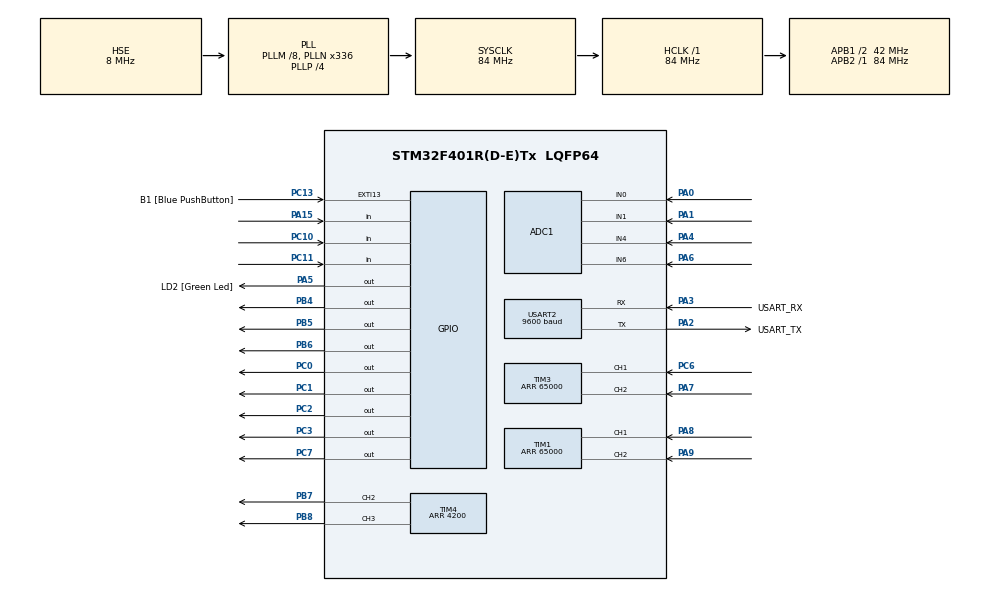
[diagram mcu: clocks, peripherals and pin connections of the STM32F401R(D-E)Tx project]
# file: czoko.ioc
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ADC1.Channel-24\#ChannelRegularConversion=ADC_CHANNEL_0
ADC1.NbrOfConversionFlag=1
ADC1.Rank-24\#ChannelRegularConversion=1
ADC1.SamplingTime-24\#ChannelRegularConversion=ADC_SAMPLETIME_3CYCLES
ADC1.master=1
Dma.Request0=USART2_RX
Dma.Request1=USART2_TX
Dma.USART2_RX.0.Channel=DMA_CHANNEL_4
Dma.USART2_RX.0.Direction=DMA_PERIPH_TO_MEMORY
Dma.USART2_RX.0.FIFOMode=DMA_FIFOMODE_DISABLE
Dma.USART2_RX.0.FIFOThreshold=DMA_FIFO_THRESHOLD_FULL
Dma.USART2_RX.0.Instance=DMA1_Stream5
Dma.USART2_RX.0.MemBurst=DMA_MBURST_SINGLE
Dma.USART2_RX.0.MemDataAlignment=DMA_MDATAALIGN_BYTE
Dma.USART2_RX.0.MemInc=DMA_MINC_ENABLE
Dma.USART2_RX.0.Mode=DMA_CIRCULAR
Dma.USART2_RX.0.PeriphBurst=DMA_PBURST_SINGLE
Dma.USART2_RX.0.PeriphDataAlignment=DMA_PDATAALIGN_BYTE
Dma.USART2_RX.0.PeriphInc=DMA_PINC_DISABLE
Dma.USART2_RX.0.Priority=DMA_PRIORITY_HIGH
Dma.USART2_TX.1.Channel=DMA_CHANNEL_4
Dma.USART2_TX.1.Direction=DMA_MEMORY_TO_PERIPH
Dma.USART2_TX.1.FIFOMode=DMA_FIFOMODE_DISABLE
Dma.USART2_TX.1.FIFOThreshold=DMA_FIFO_THRESHOLD_FULL
Dma.USART2_TX.1.Instance=DMA1_Stream6
Dma.USART2_TX.1.MemBurst=DMA_MBURST_SINGLE
Dma.USART2_TX.1.MemDataAlignment=DMA_MDATAALIGN_BYTE
Dma.USART2_TX.1.MemInc=DMA_MINC_ENABLE
Dma.USART2_TX.1.Mode=DMA_NORMAL
Dma.USART2_TX.1.PeriphBurst=DMA_PBURST_SINGLE
Dma.USART2_TX.1.PeriphDataAlignment=DMA_PDATAALIGN_BYTE
Dma.USART2_TX.1.PeriphInc=DMA_PINC_DISABLE
Dma.USART2_TX.1.Priority=DMA_PRIORITY_HIGH
Mcu.Family=STM32F4
Mcu.Name=STM32F401R(D-E)Tx
Mcu.Package=LQFP64
NVIC.DMA1_Stream5_IRQn=true\:0\:0\:false
NVIC.DMA1_Stream6_IRQn=true\:0\:0\:false
NVIC.PriorityGroup=NVIC_PRIORITYGROUP_0
NVIC.TIM1_BRK_TIM9_IRQn=true\:0\:0\:false
NVIC.TIM1_UP_TIM10_IRQn=true\:0\:0\:false
NVIC.TIM2_IRQn=true\:0\:0\:false
NVIC.TIM3_IRQn=true\:0\:0\:false
NVIC.TIM4_IRQn=true\:0\:0\:false
NVIC.TIM5_IRQn=true\:0\:0\:false
NVIC.USART2_IRQn=true\:0\:0\:false
PA0-WKUP.Signal=ADCx_IN0
PA1.Signal=ADCx_IN1
PA13.GPIO_Label=TMS
PA13.Mode=Trace-Asynchronous_SW
PA13.Signal=SYS_JTMS-SWDIO
PA14.GPIO_Label=TCK
PA14.Mode=Trace-Asynchronous_SW
PA14.Signal=SYS_JTCK-SWCLK
PA15.Signal=GPIO_Input
PA2.GPIO_Label=USART_TX
PA2.GPIO_Mode=GPIO_MODE_AF_PP
PA2.GPIO_PuPd=GPIO_NOPULL
PA2.GPIO_Speed=GPIO_SPEED_LOW
PA2.Mode=Asynchronous
PA2.Signal=USART2_TX
PA3.GPIO_Label=USART_RX
PA3.GPIO_Mode=GPIO_MODE_AF_PP
PA3.GPIO_PuPd=GPIO_PULLUP
PA3.GPIO_Speed=GPIO_SPEED_LOW
PA3.Mode=Asynchronous
PA3.Signal=USART2_RX
PA4.Signal=ADCx_IN4
PA5.GPIO_Label=LD2 [Green Led]
PA5.GPIO_Mode=GPIO_MODE_OUTPUT_PP
PA5.GPIO_ModeDefaultOutputPP=GPIO_MODE_OUTPUT_PP
PA5.GPIO_PuPd=GPIO_NOPULL
PA5.GPIO_Speed=GPIO_SPEED_LOW
PA5.Signal=GPIO_Output
PA6.Signal=ADCx_IN6
PA7.Signal=S_TIM3_CH2
PA8.Signal=S_TIM1_CH1
PA9.Signal=S_TIM1_CH2
PB3.GPIO_Label=SWO
PB3.Mode=Trace-Asynchronous_SW
PB3.Signal=SYS_JTDO-SWO
PB4.Signal=GPIO_Output
PB5.Signal=GPIO_Output
PB6.Signal=GPIO_Output
PB7.Signal=S_TIM4_CH2
PB8.Signal=S_TIM4_CH3
PC0.Signal=GPIO_Output
PC1.Signal=GPIO_Output
PC10.Signal=GPIO_Input
PC11.Signal=GPIO_Input
PC13-ANTI_TAMP.GPIO_Label=B1 [Blue PushButton]
PC13-ANTI_TAMP.GPIO_ModeDefaultEXTI=GPIO_MODE_EVT_RISING
PC13-ANTI_TAMP.GPIO_PuPd=GPIO_NOPULL
PC13-ANTI_TAMP.Signal=GPXTI13
PC14-OSC32_IN.Signal=RCC_OSC32_IN
PC15-OSC32_OUT.Signal=RCC_OSC32_OUT
PC2.Signal=GPIO_Output
PC3.Signal=GPIO_Output
PC6.Signal=S_TIM3_CH1
PC7.Signal=GPIO_Output
PH0\ -\ OSC_IN.Mode=HSE-External-Oscillator
PH0\ -\ OSC_IN.Signal=RCC_OSC_IN
PH1\ -\ OSC_OUT.Mode=HSE-External-Oscillator
PH1\ -\ OSC_OUT.Signal=RCC_OSC_OUT
ProjectManager.TargetToolchain=SW4STM32
RCC.48MHZClocksFreq_Value=48000000
RCC.AHBFreq_Value=84000000
RCC.APB1CLKDivider=RCC_HCLK_DIV2
RCC.APB1Freq_Value=42000000
RCC.APB1TimFreq_Value=84000000
RCC.APB2Freq_Value=84000000
RCC.APB2TimFreq_Value=84000000
RCC.CortexFreq_Value=84000000
RCC.EnbaleCSS=true
RCC.HCLKFreq_Value=84000000
RCC.HSE_VALUE=8000000
RCC.HSI_VALUE=16000000
RCC.LSE_VALUE=32768
RCC.PLLM=8
RCC.PLLN=336
RCC.PLLP=RCC_PLLP_DIV4
RCC.PLLQ=7
RCC.PLLSourceVirtual=RCC_PLLSOURCE_HSE
RCC.SYSCLKFreq_VALUE=84000000
RCC.SYSCLKSource=RCC_SYSCLKSOURCE_PLLCLK
RCC.VCOOutputFreq_Value=336000000
SH.ADCx_IN0.0=ADC1_IN0,IN0
SH.ADCx_IN1.0=ADC1_IN1,IN1
SH.ADCx_IN4.0=ADC1_IN4,IN4
SH.ADCx_IN6.0=ADC1_IN6,IN6
SH.S_TIM1_CH1.0=TIM1_CH1,Encoder_Interface
SH.S_TIM1_CH2.0=TIM1_CH2,Encoder_Interface
SH.S_TIM3_CH1.0=TIM3_CH1,Encoder_Interface
SH.S_TIM3_CH2.0=TIM3_CH2,Encoder_Interface
SH.S_TIM4_CH2.0=TIM4_CH2,PWM Generation2 CH2
SH.S_TIM4_CH3.0=TIM4_CH3,PWM Generation3 CH3
TIM1.CounterMode=TIM_COUNTERMODE_DOWN
TIM1.EncoderMode=TIM_ENCODERMODE_TI12
TIM1.Period=65000
TIM10.Prescaler=8400
TIM2.CounterMode=TIM_COUNTERMODE_DOWN
TIM2.Period=\ 4294967295
TIM2.Prescaler=8400
TIM3.CounterMode=TIM_COUNTERMODE_DOWN
TIM3.EncoderMode=TIM_ENCODERMODE_TI12
TIM3.Period=65000
TIM4.Channel-PWM\ Generation2\ CH2=TIM_CHANNEL_2
TIM4.Channel-PWM\ Generation3\ CH3=TIM_CHANNEL_3
TIM4.Period=4200
TIM5.CounterMode=TIM_COUNTERMODE_DOWN
TIM5.Period=\ 4294967295
TIM5.Prescaler=8400
TIM9.Prescaler=8400
USART2.BaudRate=9600
VP_TIM10_VS_ClockSourceINT.Mode=Enable_Timer
VP_TIM2_VS_ClockSourceINT.Mode=Internal
VP_TIM5_VS_ClockSourceINT.Mode=Internal
VP_TIM9_VS_ClockSourceINT.Mode=Internal
board=czoko

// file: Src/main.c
/**
  ******************************************************************************
  * File Name          : main.c
  * Description        : Main program body
  ******************************************************************************
  *
  * COPYRIGHT(c) 2015 STMicroelectronics
  *
  * Redistribution and use in source and binary forms, with or without modification,
  * are permitted provided that the following conditions are met:
  *   1. Redistributions of source code must retain the above copyright notice,
  *      this list of conditions and the following disclaimer.
  *   2. Redistributions in binary form must reproduce the above copyright notice,
  *      this list of conditions and the following disclaimer in the documentation
  *      and/or other materials provided with the distribution.
  *   3. Neither the name of STMicroelectronics nor the names of its contributors
  *      may be used to endorse or promote products derived from this software
  *      without specific prior written permission.
  *
  * THIS SOFTWARE IS PROVIDED BY THE COPYRIGHT HOLDERS AND CONTRIBUTORS "AS IS"
  * AND ANY EXPRESS OR IMPLIED WARRANTIES, INCLUDING, BUT NOT LIMITED TO, THE
  * IMPLIED WARRANTIES OF MERCHANTABILITY AND FITNESS FOR A PARTICULAR PURPOSE ARE
  * DISCLAIMED. IN NO EVENT SHALL THE COPYRIGHT HOLDER OR CONTRIBUTORS BE LIABLE
  * FOR ANY DIRECT, INDIRECT, INCIDENTAL, SPECIAL, EXEMPLARY, OR CONSEQUENTIAL
  * DAMAGES (INCLUDING, BUT NOT LIMITED TO, PROCUREMENT OF SUBSTITUTE GOODS OR
  * SERVICES; LOSS OF USE, DATA, OR PROFITS; OR BUSINESS INTERRUPTION) HOWEVER
  * CAUSED AND ON ANY THEORY OF LIABILITY, WHETHER IN CONTRACT, STRICT LIABILITY,
  * OR TORT (INCLUDING NEGLIGENCE OR OTHERWISE) ARISING IN ANY WAY OUT OF THE USE
  * OF THIS SOFTWARE, EVEN IF ADVISED OF THE POSSIBILITY OF SUCH DAMAGE.
  *
  ******************************************************************************
  */
#include "stm32f4xx_hal.h"

/* USER CODE BEGIN Includes */
#include <math.h>
/* USER CODE END Includes */

ADC_HandleTypeDef hadc1;

TIM_HandleTypeDef htim1;
TIM_HandleTypeDef htim2;
TIM_HandleTypeDef htim3;
TIM_HandleTypeDef htim4;
TIM_HandleTypeDef htim5;
TIM_HandleTypeDef htim9;
TIM_HandleTypeDef htim10;

UART_HandleTypeDef huart2;
DMA_HandleTypeDef hdma_usart2_rx;
DMA_HandleTypeDef hdma_usart2_tx;

/* USER CODE BEGIN PV */
/* Private variables ---------------------------------------------------------*/
#define SHORT_PI 3.1415f
#define RADIUS 1.95f
#define TICK_PER_ROUND 600.0f
#define ENCODER_INITIAL 32500
/* USER CODE END PV */

void SystemClock_Config(void);
static void MX_GPIO_Init(void);
static void MX_DMA_Init(void);
static void MX_ADC1_Init(void);
static void MX_TIM1_Init(void);
static void MX_TIM2_Init(void);
static void MX_TIM3_Init(void);
static void MX_TIM4_Init(void);
static void MX_TIM5_Init(void);
static void MX_TIM9_Init(void);
static void MX_TIM10_Init(void);
static void MX_USART2_UART_Init(void);

/* USER CODE BEGIN PFP */
/* Private function prototypes -----------------------------------------------*/
void LeftForward(void);
void LeftBackward(void);
void RightForward(void);
void RightBackward(void);
void RightPWM(uint32_t pwm);
void LeftPWM(uint32_t pwm);
void regulation(void);
int8_t getBit(int8_t value, int8_t bit);
void setBit(int8_t *value, int8_t bit);
void resetBit(int8_t *value, int8_t bit);

/* USER CODE END PFP */

/* USER CODE BEGIN 0 */
int8_t command[10];

float leftVelocity = 0;
float rightVelocity = 0;
int32_t leftTotalTicks = 0;
int32_t rightTotalTicks = 0;
int32_t leftCurrentTicks = 0;
int32_t rightCurrentTicks = 0;

float pVal = 5.0f;
float dVal = 0;

float setLeftSpeed = 0;
float setRightSpeed = 0;

float eLeft = 0;
float eRight = 0;

float peLeft = 0;
float peRight = 0;

float newPWMLeft = 0;
float newPWMRight = 0;

uint32_t encoderTimer = 600;
uint32_t btTimeout = 0;
uint8_t speedTimerFlag = 0;
uint8_t bluetoothTimerFlag = 0;

uint8_t ControlFlag = 0;
uint8_t timerFlag = 0;

//uint8_t response[10];
/* USER CODE END 0 */

int main(void)
{

  /* MCU Configuration----------------------------------------------------------*/

  /* Reset of all peripherals, Initializes the Flash interface and the Systick. */
  HAL_Init();

  /* Configure the system clock */
  SystemClock_Config();

  /* Initialize all configured peripherals */
  MX_GPIO_Init();
  MX_DMA_Init();
  MX_ADC1_Init();
  MX_TIM1_Init();
  MX_TIM2_Init();
  MX_TIM3_Init();
  MX_TIM4_Init();
  MX_TIM5_Init();
  MX_TIM9_Init();
  MX_TIM10_Init();
  MX_USART2_UART_Init();

  /* USER CODE BEGIN 2 */
  HAL_TIM_PWM_Start(&htim4, TIM_CHANNEL_2);
  HAL_TIM_PWM_Start(&htim4, TIM_CHANNEL_3);

  htim1.Instance->CNT = ENCODER_INITIAL;
  htim3.Instance->CNT = ENCODER_INITIAL;

  HAL_TIM_Encoder_Start(&htim1, TIM_CHANNEL_ALL);
  HAL_TIM_Encoder_Start(&htim3, TIM_CHANNEL_ALL);

  HAL_TIM_Base_Start_IT(&htim1);
  HAL_TIM_Base_Start_IT(&htim3);
  //to je PWM
  //htim4.Instance->CCR3 = 1000;
  //htim4.Instance->CCR2 = 1000;

  leftTotalTicks = 0;
  rightTotalTicks = 0;

  LeftPWM(0);
  RightPWM(0);

  RightForward();
  LeftForward();

  htim9.Instance->ARR = 0;
  htim2.Instance->ARR = encoderTimer;
  htim2.Instance->CNT = encoderTimer;
  HAL_TIM_Base_Start_IT(&htim2);

  //HAL_GPIO_WritePin(GPIOB,GPIO_PIN_6,GPIO_PIN_SET);
  //HAL_GPIO_WritePin(GPIOB,GPIO_PIN_5,GPIO_PIN_SET);

  HAL_UART_Receive_DMA(&huart2, command, sizeof(command));

  //uint8_t hello[] = {'r','o','b','o','t',' ','i','n','i','t'};
  //HAL_UART_Transmit_DMA(&huart2,hello,10);
  /* USER CODE END 2 */

  /* Infinite loop */
  while (1)
  {

  }

}

/** System Clock Configuration
*/
void SystemClock_Config(void)
{

  RCC_OscInitTypeDef RCC_OscInitStruct;
  RCC_ClkInitTypeDef RCC_ClkInitStruct;

  __PWR_CLK_ENABLE();

  __HAL_PWR_VOLTAGESCALING_CONFIG(PWR_REGULATOR_VOLTAGE_SCALE1);

  RCC_OscInitStruct.OscillatorType = RCC_OSCILLATORTYPE_HSE;
  RCC_OscInitStruct.HSEState = RCC_HSE_ON;
  RCC_OscInitStruct.PLL.PLLState = RCC_PLL_ON;
  RCC_OscInitStruct.PLL.PLLSource = RCC_PLLSOURCE_HSE;
  RCC_OscInitStruct.PLL.PLLM = 8;
  RCC_OscInitStruct.PLL.PLLN = 336;
  RCC_OscInitStruct.PLL.PLLP = RCC_PLLP_DIV4;
  RCC_OscInitStruct.PLL.PLLQ = 7;
  HAL_RCC_OscConfig(&RCC_OscInitStruct);

  RCC_ClkInitStruct.ClockType = RCC_CLOCKTYPE_SYSCLK|RCC_CLOCKTYPE_PCLK1;
  RCC_ClkInitStruct.SYSCLKSource = RCC_SYSCLKSOURCE_PLLCLK;
  RCC_ClkInitStruct.AHBCLKDivider = RCC_SYSCLK_DIV1;
  RCC_ClkInitStruct.APB1CLKDivider = RCC_HCLK_DIV2;
  RCC_ClkInitStruct.APB2CLKDivider = RCC_HCLK_DIV1;
  HAL_RCC_ClockConfig(&RCC_ClkInitStruct, FLASH_LATENCY_2);

  HAL_RCC_EnableCSS();

  HAL_SYSTICK_Config(HAL_RCC_GetHCLKFreq()/1000);

  HAL_SYSTICK_CLKSourceConfig(SYSTICK_CLKSOURCE_HCLK);

}

/* ADC1 init function */
void MX_ADC1_Init(void)
{

  ADC_ChannelConfTypeDef sConfig;

    /**Configure the global features of the ADC (Clock, Resolution, Data Alignment and number of conversion)
    */
  hadc1.Instance = ADC1;
  hadc1.Init.ClockPrescaler = ADC_CLOCKPRESCALER_PCLK_DIV4;
  hadc1.Init.Resolution = ADC_RESOLUTION12b;
  hadc1.Init.ScanConvMode = DISABLE;
  hadc1.Init.ContinuousConvMode = DISABLE;
  hadc1.Init.DiscontinuousConvMode = DISABLE;
  hadc1.Init.ExternalTrigConvEdge = ADC_EXTERNALTRIGCONVEDGE_NONE;
  hadc1.Init.DataAlign = ADC_DATAALIGN_RIGHT;
  hadc1.Init.NbrOfConversion = 1;
  hadc1.Init.DMAContinuousRequests = DISABLE;
  hadc1.Init.EOCSelection = EOC_SINGLE_CONV;
  HAL_ADC_Init(&hadc1);

    /**Configure for the selected ADC regular channel its corresponding rank in the sequencer and its sample time.
    */
  sConfig.Channel = ADC_CHANNEL_0;
  sConfig.Rank = 1;
  sConfig.SamplingTime = ADC_SAMPLETIME_3CYCLES;
  HAL_ADC_ConfigChannel(&hadc1, &sConfig);

}

/* TIM1 init function */
void MX_TIM1_Init(void)
{

  TIM_Encoder_InitTypeDef sConfig;
  TIM_MasterConfigTypeDef sMasterConfig;

  htim1.Instance = TIM1;
  htim1.Init.Prescaler = 0;
  htim1.Init.CounterMode = TIM_COUNTERMODE_DOWN;
  htim1.Init.Period = 65000;
  htim1.Init.ClockDivision = TIM_CLOCKDIVISION_DIV1;
  htim1.Init.RepetitionCounter = 0;
  sConfig.EncoderMode = TIM_ENCODERMODE_TI12;
  sConfig.IC1Polarity = TIM_ICPOLARITY_RISING;
  sConfig.IC1Selection = TIM_ICSELECTION_DIRECTTI;
  sConfig.IC1Prescaler = TIM_ICPSC_DIV1;
  sConfig.IC1Filter = 0;
  sConfig.IC2Polarity = TIM_ICPOLARITY_RISING;
  sConfig.IC2Selection = TIM_ICSELECTION_DIRECTTI;
  sConfig.IC2Prescaler = TIM_ICPSC_DIV1;
  sConfig.IC2Filter = 0;
  HAL_TIM_Encoder_Init(&htim1, &sConfig);

  sMasterConfig.MasterOutputTrigger = TIM_TRGO_RESET;
  sMasterConfig.MasterSlaveMode = TIM_MASTERSLAVEMODE_DISABLE;
  HAL_TIMEx_MasterConfigSynchronization(&htim1, &sMasterConfig);

}

/* TIM2 init function */
void MX_TIM2_Init(void)
{

  TIM_ClockConfigTypeDef sClockSourceConfig;
  TIM_MasterConfigTypeDef sMasterConfig;

  htim2.Instance = TIM2;
  htim2.Init.Prescaler = 8400;
  htim2.Init.CounterMode = TIM_COUNTERMODE_DOWN;
  htim2.Init.Period = 4294967295;
  htim2.Init.ClockDivision = TIM_CLOCKDIVISION_DIV1;
  HAL_TIM_Base_Init(&htim2);

  sClockSourceConfig.ClockSource = TIM_CLOCKSOURCE_INTERNAL;
  HAL_TIM_ConfigClockSource(&htim2, &sClockSourceConfig);

  sMasterConfig.MasterOutputTrigger = TIM_TRGO_RESET;
  sMasterConfig.MasterSlaveMode = TIM_MASTERSLAVEMODE_DISABLE;
  HAL_TIMEx_MasterConfigSynchronization(&htim2, &sMasterConfig);

}

/* TIM3 init function */
void MX_TIM3_Init(void)
{

  TIM_Encoder_InitTypeDef sConfig;
  TIM_MasterConfigTypeDef sMasterConfig;

  htim3.Instance = TIM3;
  htim3.Init.Prescaler = 0;
  htim3.Init.CounterMode = TIM_COUNTERMODE_DOWN;
  htim3.Init.Period = 65000;
  htim3.Init.ClockDivision = TIM_CLOCKDIVISION_DIV1;
  sConfig.EncoderMode = TIM_ENCODERMODE_TI12;
  sConfig.IC1Polarity = TIM_ICPOLARITY_RISING;
  sConfig.IC1Selection = TIM_ICSELECTION_DIRECTTI;
  sConfig.IC1Prescaler = TIM_ICPSC_DIV1;
  sConfig.IC1Filter = 0;
  sConfig.IC2Polarity = TIM_ICPOLARITY_RISING;
  sConfig.IC2Selection = TIM_ICSELECTION_DIRECTTI;
  sConfig.IC2Prescaler = TIM_ICPSC_DIV1;
  sConfig.IC2Filter = 0;
  HAL_TIM_Encoder_Init(&htim3, &sConfig);

  sMasterConfig.MasterOutputTrigger = TIM_TRGO_RESET;
  sMasterConfig.MasterSlaveMode = TIM_MASTERSLAVEMODE_DISABLE;
  HAL_TIMEx_MasterConfigSynchronization(&htim3, &sMasterConfig);

}

/* TIM4 init function */
void MX_TIM4_Init(void)
{

  TIM_MasterConfigTypeDef sMasterConfig;
  TIM_OC_InitTypeDef sConfigOC;

  htim4.Instance = TIM4;
  htim4.Init.Prescaler = 0;
  htim4.Init.CounterMode = TIM_COUNTERMODE_UP;
  htim4.Init.Period = 4200;
  htim4.Init.ClockDivision = TIM_CLOCKDIVISION_DIV1;
  HAL_TIM_PWM_Init(&htim4);

  sMasterConfig.MasterOutputTrigger = TIM_TRGO_RESET;
  sMasterConfig.MasterSlaveMode = TIM_MASTERSLAVEMODE_DISABLE;
  HAL_TIMEx_MasterConfigSynchronization(&htim4, &sMasterConfig);

  sConfigOC.OCMode = TIM_OCMODE_PWM1;
  sConfigOC.Pulse = 0;
  sConfigOC.OCPolarity = TIM_OCPOLARITY_HIGH;
  sConfigOC.OCFastMode = TIM_OCFAST_DISABLE;
  HAL_TIM_PWM_ConfigChannel(&htim4, &sConfigOC, TIM_CHANNEL_2);

  HAL_TIM_PWM_ConfigChannel(&htim4, &sConfigOC, TIM_CHANNEL_3);

}

/* TIM5 init function */
void MX_TIM5_Init(void)
{

  TIM_ClockConfigTypeDef sClockSourceConfig;
  TIM_MasterConfigTypeDef sMasterConfig;

  htim5.Instance = TIM5;
  htim5.Init.Prescaler = 8400;
  htim5.Init.CounterMode = TIM_COUNTERMODE_DOWN;
  htim5.Init.Period = 4294967295;
  htim5.Init.ClockDivision = TIM_CLOCKDIVISION_DIV1;
  HAL_TIM_Base_Init(&htim5);

  sClockSourceConfig.ClockSource = TIM_CLOCKSOURCE_INTERNAL;
  HAL_TIM_ConfigClockSource(&htim5, &sClockSourceConfig);

  sMasterConfig.MasterOutputTrigger = TIM_TRGO_RESET;
  sMasterConfig.MasterSlaveMode = TIM_MASTERSLAVEMODE_DISABLE;
  HAL_TIMEx_MasterConfigSynchronization(&htim5, &sMasterConfig);

}

/* TIM9 init function */
void MX_TIM9_Init(void)
{

  TIM_ClockConfigTypeDef sClockSourceConfig;

  htim9.Instance = TIM9;
  htim9.Init.Prescaler = 8400;
  htim9.Init.CounterMode = TIM_COUNTERMODE_UP;
  htim9.Init.Period = 0;
  htim9.Init.ClockDivision = TIM_CLOCKDIVISION_DIV1;
  HAL_TIM_Base_Init(&htim9);

  sClockSourceConfig.ClockSource = TIM_CLOCKSOURCE_INTERNAL;
  HAL_TIM_ConfigClockSource(&htim9, &sClockSourceConfig);

}

/* TIM10 init function */
void MX_TIM10_Init(void)
{

  htim10.Instance = TIM10;
  htim10.Init.Prescaler = 8400;
  htim10.Init.CounterMode = TIM_COUNTERMODE_UP;
  htim10.Init.Period = 0;
  htim10.Init.ClockDivision = TIM_CLOCKDIVISION_DIV1;
  HAL_TIM_Base_Init(&htim10);

}

/* USART2 init function */
void MX_USART2_UART_Init(void)
{

  huart2.Instance = USART2;
  huart2.Init.BaudRate = 9600;
  huart2.Init.WordLength = UART_WORDLENGTH_8B;
  huart2.Init.StopBits = UART_STOPBITS_1;
  huart2.Init.Parity = UART_PARITY_NONE;
  huart2.Init.Mode = UART_MODE_TX_RX;
  huart2.Init.HwFlowCtl = UART_HWCONTROL_NONE;
  huart2.Init.OverSampling = UART_OVERSAMPLING_16;
  HAL_UART_Init(&huart2);

}

void MX_DMA_Init(void)
{
  /* DMA controller clock enable */
  __DMA1_CLK_ENABLE();

  /* DMA interrupt init */
  HAL_NVIC_SetPriority(DMA1_Stream5_IRQn, 0, 0);
  HAL_NVIC_EnableIRQ(DMA1_Stream5_IRQn);
  HAL_NVIC_SetPriority(DMA1_Stream6_IRQn, 0, 0);
  HAL_NVIC_EnableIRQ(DMA1_Stream6_IRQn);

}

/** Configure pins as
        * Analog
        * Input
        * Output
        * EVENT_OUT
        * EXTI
*/
void MX_GPIO_Init(void)
{

  GPIO_InitTypeDef GPIO_InitStruct;

  /* GPIO Ports Clock Enable */
  __GPIOC_CLK_ENABLE();
  __GPIOH_CLK_ENABLE();
  __GPIOA_CLK_ENABLE();
  __GPIOB_CLK_ENABLE();

  /*Configure GPIO pin : PC13 */
  GPIO_InitStruct.Pin = GPIO_PIN_13;
  GPIO_InitStruct.Mode = GPIO_MODE_EVT_RISING;
  GPIO_InitStruct.Pull = GPIO_NOPULL;
  HAL_GPIO_Init(GPIOC, &GPIO_InitStruct);

  /*Configure GPIO pins : PC0 PC1 PC2 PC3
                           PC7 */
  GPIO_InitStruct.Pin = GPIO_PIN_0|GPIO_PIN_1|GPIO_PIN_2|GPIO_PIN_3
                          |GPIO_PIN_7;
  GPIO_InitStruct.Mode = GPIO_MODE_OUTPUT_PP;
  GPIO_InitStruct.Pull = GPIO_NOPULL;
  GPIO_InitStruct.Speed = GPIO_SPEED_LOW;
  HAL_GPIO_Init(GPIOC, &GPIO_InitStruct);

  /*Configure GPIO pin : PA5 */
  GPIO_InitStruct.Pin = GPIO_PIN_5;
  GPIO_InitStruct.Mode = GPIO_MODE_OUTPUT_PP;
  GPIO_InitStruct.Pull = GPIO_NOPULL;
  GPIO_InitStruct.Speed = GPIO_SPEED_LOW;
  HAL_GPIO_Init(GPIOA, &GPIO_InitStruct);

  /*Configure GPIO pin : PA15 */
  GPIO_InitStruct.Pin = GPIO_PIN_15;
  GPIO_InitStruct.Mode = GPIO_MODE_INPUT;
  GPIO_InitStruct.Pull = GPIO_NOPULL;
  HAL_GPIO_Init(GPIOA, &GPIO_InitStruct);

  /*Configure GPIO pins : PC10 PC11 */
  GPIO_InitStruct.Pin = GPIO_PIN_10|GPIO_PIN_11;
  GPIO_InitStruct.Mode = GPIO_MODE_INPUT;
  GPIO_InitStruct.Pull = GPIO_NOPULL;
  HAL_GPIO_Init(GPIOC, &GPIO_InitStruct);

  /*Configure GPIO pins : PB4 PB5 PB6 */
  GPIO_InitStruct.Pin = GPIO_PIN_4|GPIO_PIN_5|GPIO_PIN_6;
  GPIO_InitStruct.Mode = GPIO_MODE_OUTPUT_PP;
  GPIO_InitStruct.Pull = GPIO_NOPULL;
  GPIO_InitStruct.Speed = GPIO_SPEED_LOW;
  HAL_GPIO_Init(GPIOB, &GPIO_InitStruct);

}

/* USER CODE BEGIN 4 */

void setTimer(TIM_HandleTypeDef *htim, uint32_t timeout)
{
	htim->Instance->ARR = timeout*10;
	if(htim->Init.CounterMode == TIM_COUNTERMODE_DOWN)
		htim->Instance->CNT = timeout*10-1;
	else
		htim->Instance->CNT = 0;
}

uint32_t getTimerTimeout(TIM_HandleTypeDef *htim)
{
	return htim->Instance->ARR;
}

void startSpeedTimer(uint32_t timeout)
{

		htim5.Instance->ARR = timeout*10;
		htim5.Instance->CNT = timeout*10-1;
		HAL_TIM_Base_Start_IT(&htim5);
		speedTimerFlag = 0;

}

void stopSpeedTimer()
{
	HAL_TIM_Base_Stop_IT(&htim5);
}

void startBluetoothTimer()
{

		htim9.Instance->CNT = 0;
		HAL_TIM_Base_Start_IT(&htim9);
		bluetoothTimerFlag = 0;

}

void stopBluetoothTimer()
{
	HAL_TIM_Base_Stop_IT(&htim9);
}

void LeftForward(void)
{
	HAL_GPIO_WritePin(GPIOB,GPIO_PIN_4,GPIO_PIN_SET);
	HAL_GPIO_WritePin(GPIOB,GPIO_PIN_5,GPIO_PIN_RESET);
}

void LeftBackward(void)
{
	HAL_GPIO_WritePin(GPIOB,GPIO_PIN_4,GPIO_PIN_RESET);
	HAL_GPIO_WritePin(GPIOB,GPIO_PIN_5,GPIO_PIN_SET);
}

void RightForward(void)
{
	HAL_GPIO_WritePin(GPIOB,GPIO_PIN_6,GPIO_PIN_SET);
	HAL_GPIO_WritePin(GPIOC,GPIO_PIN_7,GPIO_PIN_RESET);
}

void RightBackward(void)
{
	HAL_GPIO_WritePin(GPIOB,GPIO_PIN_6,GPIO_PIN_RESET);
	HAL_GPIO_WritePin(GPIOC,GPIO_PIN_7,GPIO_PIN_SET);
}

uint8_t isLeftBackward(void)
{
	uint8_t result;
	if((HAL_GPIO_ReadPin(GPIOB,GPIO_PIN_4) == GPIO_PIN_RESET)  &&
	   (HAL_GPIO_ReadPin(GPIOB,GPIO_PIN_5) == GPIO_PIN_SET))
		result = 1;
	else
		result = 0;
	return result;
}

uint8_t isLeftForward(void)
{
	uint8_t result;
	if((HAL_GPIO_ReadPin(GPIOB,GPIO_PIN_4) == GPIO_PIN_SET)  &&
	   (HAL_GPIO_ReadPin(GPIOB,GPIO_PIN_5) == GPIO_PIN_RESET))
		result = 1;
	else
		result = 0;
	return result;
}

uint8_t isRightBackward(void)
{
	uint8_t result;
	if((HAL_GPIO_ReadPin(GPIOB,GPIO_PIN_6) == GPIO_PIN_RESET)  &&
	   (HAL_GPIO_ReadPin(GPIOC,GPIO_PIN_7) == GPIO_PIN_SET))
		result = 1;
	else
		result = 0;
	return result;
}

uint8_t isRightForward(void)
{
	uint8_t result;
	if((HAL_GPIO_ReadPin(GPIOB,GPIO_PIN_6) == GPIO_PIN_SET)  &&
	   (HAL_GPIO_ReadPin(GPIOC,GPIO_PIN_7) == GPIO_PIN_RESET))
		result = 1;
	else
		result = 0;
	return result;
}
void LeftPWM(uint32_t pwm)
{
	if(pwm > 4200)
		pwm = 4200;
	htim4.Instance->CCR2 = pwm;
}

void RightPWM(uint32_t pwm)
{
	if(pwm > 4200)
		pwm = 4200;
	htim4.Instance->CCR3 = pwm;
}

uint32_t getLeftPWM()
{
	return htim4.Instance->CCR2;
}

uint32_t getRightPWM()
{
	return htim4.Instance->CCR3;
}

void stopMotors(void)
{
	/*
	HAL_GPIO_WritePin(GPIOB,GPIO_PIN_4,GPIO_PIN_RESET);
	HAL_GPIO_WritePin(GPIOB,GPIO_PIN_5,GPIO_PIN_RESET);
	HAL_GPIO_WritePin(GPIOB,GPIO_PIN_6,GPIO_PIN_RESET);
	HAL_GPIO_WritePin(GPIOC,GPIO_PIN_7,GPIO_PIN_RESET);
	*/
	setLeftSpeed = 0.0;
	setRightSpeed = 0.0;

	LeftPWM(0);
	RightPWM(0);

	HAL_TIM_Base_Stop_IT(&htim5);

}

float calcVelocity(int8_t encoderTicks)
{
	float tmp = encoderTicks/TICK_PER_ROUND;
	tmp = tmp*RADIUS;
	tmp = tmp*2.0f;
	tmp = tmp*SHORT_PI;
	return tmp;
}

float LeftVelocity(void)
{

	leftTotalTicks += (ENCODER_INITIAL - htim3.Instance->CNT);
	htim3.Instance->CNT = ENCODER_INITIAL;

	float vel = 0.0f;
	vel = calcVelocity(leftTotalTicks);
	leftCurrentTicks = leftTotalTicks;
	leftTotalTicks = 0;

	return vel;
}

float RightVelocity(void)
{
	rightTotalTicks += (ENCODER_INITIAL - htim1.Instance->CNT);
	htim1.Instance->CNT = ENCODER_INITIAL;

	float vel = 0.0f;
	vel = calcVelocity(rightTotalTicks);
	rightCurrentTicks = rightTotalTicks;
	rightTotalTicks = 0;

	return vel;
}

int8_t* float2byte(float input, int8_t* output)
{
	input = round(input*100)/100.0f;
	float upper,leftover;
	if(input >= 0)
	{
		upper = floorf(input);
		leftover = (input - upper) * 100.0f;
	}
	else
	{
		upper = ceilf(input);
		leftover = -(input - upper) * 100.0f;
	}

	output[0] = (int8_t)upper;
	output[1] = (int8_t)leftover;
	if(input < 0 && input > -1)
		output[1] = -output[1];

	return output;
}

float byte2Float(int8_t* output)
{
	if(output[0] > -1)
		return output[0] + output[1]/100.0f;
	else
		return output[0] - output[1]/100.0f;
}

uint32_t byte2int(int8_t* input)
{
	uint32_t high = input[1] >= 0 ? input[1] : 256 + input[1];
	uint32_t low = input[0] >= 0 ? input[0] : 256 + input[0];

	return low | (high << 8);
}

int8_t* int2byte(uint32_t input,int8_t* output )
{
	output[0] = (int8_t)(input & 0xFF);
	output[1] = (int8_t)((input >> 8) & 0xFF);

	return output;
}

int8_t* invalidMessage(int8_t* response)
{
	uint8_t index = 0;
	for(;index < 10; ++index)
		response[index] = 0;
	response[0] = 'B';
	response[4] = 'M';
	response[9] = 'E';
	stopMotors();
	return response;
}

int8_t* setResponse(int8_t* command,int8_t* response)
{
	uint8_t index = 0;
	for(;index < 10; ++index)
		response[index] = command[index];

	return response;
}

int8_t* setResponseWrkd(int8_t* command,int8_t* response)
{
	uint8_t index = 0;
	for(;index < 10; ++index)
		response[index] = 0;
	response[0] = 'B';
	response[2] = command[2];
	response[3] = command[3];
	response[4] = command[5];
	response[5] = command[6];
	return response;
}

int8_t* setIntResponseWrkd(int8_t* command,int8_t* response)
{
	uint8_t index = 0;
	for(;index < 10; ++index)
		response[index] = command[index];

	return response;
}

int8_t* setBlockedTimerResponse(int8_t* response)
{
	uint8_t index = 0;
	for(;index < 10; ++index)
		response[index] = timerFlag;

	return response;
}

int8_t* getVelocityResponse(int8_t* command,int8_t* response)
{
	uint8_t index = 0;
		for(;index < 10; ++index)
			response[index] = 0;
	response[0] = 'B';
	response[1] = command[1];
	int8_t data[2];
	float2byte(leftVelocity,data);
	response[2] = data[0];
	response[3] = data[1];
	float2byte(rightVelocity,data);
	response[4] = data[0];
	response[5] = data[1];

	return response;

}

int8_t* setVelocityResponse(int8_t* command,int8_t* response, uint8_t isBlocked)
{
	uint8_t index = 0;
		for(;index < 10; ++index)
			response[index] = 0;
	response[0] = 'B';
	response[1] = command[1];
	response[2] = command[2];
	response[3] = command[3];
	response[4] = command[5];
	response[5] = command[6];
	if(command[2] == 0 && command[3] == 0 && command[5] == 0 && command[6] == 0)
	{
		stopMotors();
		return response;
	}
	int8_t data[2];

	data[0] = command[2];
	data[1] = command[3];
	setLeftSpeed = byte2Float(data);

	data[0] = command[5];
	data[1] = command[6];
	setRightSpeed = byte2Float(data);

	if(command[7] != 0 && command[8] != 0)
	{
		data[0] = command[7];
		data[1] = command[8];
		uint32_t timer = byte2int(data);

		startSpeedTimer(timer);
		if(isBlocked)
			timerFlag = command[1];
	}

	return response;
}

int8_t* setConfigResponse(int8_t* command,int8_t* response)
{
	uint8_t index = 0;
		for(;index < 10; ++index)
			response[index] = 0;
	response[0] = 'B';
	response[1] = command[1];
	response[2] = command[2];
	response[3] = command[3];
	response[4] = command[5];
	response[5] = command[6];

	int8_t data[2];

	data[0] = command[2];
	data[1] = command[3];
	pVal = byte2Float(data);

	data[0] = command[5];
	data[1] = command[6];
	dVal = byte2Float(data);

	return response;
}

int8_t* getConfigResponse(int8_t* command,int8_t* response)
{
	uint8_t index = 0;
		for(;index < 10; ++index)
			response[index] = 0;
	response[0] = 'B';
	response[1] = command[1];
	int8_t data[2];
	float2byte(pVal,data);
	response[2] = data[0];
	response[3] = data[1];
	float2byte(dVal,data);
	response[4] = data[0];
	response[5] = data[1];

	return response;

}

int8_t* setPWMResponse(int8_t* command,int8_t* response, uint8_t isBlocked)
{
	uint8_t index = 0;
		for(;index < 10; ++index)
			response[index] = 0;
	response[0] = 'B';
	response[1] = command[1];
	response[2] = command[2];
	response[3] = command[3];
	response[4] = command[5];
	response[5] = command[6];

	if(!ControlFlag)
	{
		int8_t data[2];

		data[0] = command[2];
		data[1] = command[3];
		LeftPWM(byte2int(data));

		data[0] = command[5];
		data[1] = command[6];
		RightPWM(byte2int(data));

		if(command[7] != 0 && command[8] != 0)
		{
			data[0] = command[7];
			data[1] = command[8];
			uint32_t timer = byte2int(data);

			startSpeedTimer(timer);
			if(isBlocked)
				timerFlag = command[1];
		}
	}

	return response;
}

int8_t* getPWMResponse(int8_t* command,int8_t* response)
{
	uint8_t index = 0;
		for(;index < 10; ++index)
			response[index] = 0;
	response[0] = 'B';
	response[1] = command[1];
	int8_t data[2];
	int2byte(getLeftPWM(),data);
	response[2] = data[0];
	response[3] = data[1];
	int2byte(getRightPWM(),data);
	response[4] = data[0];
	response[5] = data[1];

	return response;

}

int8_t* setTimerResponse(int8_t* command,int8_t* response,TIM_HandleTypeDef *htim)
{
	uint8_t index = 0;
		for(;index < 10; ++index)
			response[index] = 0;
	response[0] = 'B';
	response[1] = command[1];
	response[2] = command[2];
	response[3] = command[3];

	int8_t data[2];

	data[0] = command[2];
	data[1] = command[3];
	setTimer(htim,byte2int(data));

	return response;
}

int8_t* getTimerResponse(int8_t* command,int8_t* response,TIM_HandleTypeDef *htim)
{
	uint8_t index = 0;
		for(;index < 10; ++index)
			response[index] = 0;
	response[0] = 'B';
	response[1] = command[1];
	int8_t data[2];
	int2byte(htim->Instance->ARR,data);
	response[2] = data[0];
	response[3] = data[1];

	return response;

}

int8_t* getSetSpeedResponse(int8_t* command,int8_t* response)
{
	uint8_t index = 0;
		for(;index < 10; ++index)
			response[index] = 0;
	response[0] = 'B';
	response[1] = command[1];
	int8_t data[2];
	float2byte(setLeftSpeed,data);
	response[2] = data[0];
	response[3] = data[1];
	float2byte(setRightSpeed,data);
	response[4] = data[0];
	response[5] = data[1];

	return response;

}

int8_t* setRegulationTimerResponse(int8_t* command,int8_t* response)
{
	uint8_t index = 0;
		for(;index < 10; ++index)
			response[index] = 0;
	response[0] = 'B';
	response[1] = command[1];
	response[2] = command[2];
	response[3] = command[3];

	if(command[2] == 0 && command[3] == 0)
	{
		setTimer(&htim10,0);
		HAL_TIM_Base_Stop_IT(&htim10);
		ControlFlag = 0;
	}else
	{
		int8_t data[2];

		data[0] = command[2];
		data[1] = command[3];
		setTimer(&htim10,byte2int(data));
		HAL_TIM_Base_Start_IT(&htim10);
		ControlFlag = 1;
	}

	return response;
}

int8_t* setMotorsDirection(int8_t* command,int8_t* response)
{
	uint8_t index = 0;
		for(;index < 10; ++index)
			response[index] = 0;
	response[0] = 'B';
	response[1] = command[1];
	if(!ControlFlag)
	{
		if(getBit(command[2],3))
			HAL_GPIO_WritePin(GPIOB,GPIO_PIN_4,GPIO_PIN_SET);
		else
			HAL_GPIO_WritePin(GPIOB,GPIO_PIN_4,GPIO_PIN_RESET);

		if(getBit(command[2],2))
			HAL_GPIO_WritePin(GPIOB,GPIO_PIN_5,GPIO_PIN_SET);
		else
			HAL_GPIO_WritePin(GPIOB,GPIO_PIN_5,GPIO_PIN_RESET);

		if(getBit(command[2],1))
			HAL_GPIO_WritePin(GPIOB,GPIO_PIN_6,GPIO_PIN_SET);
		else
			HAL_GPIO_WritePin(GPIOB,GPIO_PIN_6,GPIO_PIN_RESET);

		if(getBit(command[2],0))
			HAL_GPIO_WritePin(GPIOC,GPIO_PIN_7,GPIO_PIN_SET);
		else
			HAL_GPIO_WritePin(GPIOC,GPIO_PIN_7,GPIO_PIN_RESET);
	}
	return response;
}

int8_t* getMotorsDirection(int8_t* command,int8_t* response)
{
	uint8_t index = 0;
		for(;index < 10; ++index)
			response[index] = 0;
	response[0] = 'B';
	response[1] = command[1];

	if(HAL_GPIO_ReadPin(GPIOB,GPIO_PIN_4) == GPIO_PIN_SET)
		setBit(&(response[2]),3);
	if(HAL_GPIO_ReadPin(GPIOB,GPIO_PIN_5) == GPIO_PIN_SET)
			setBit(&(response[2]),2);
	if(HAL_GPIO_ReadPin(GPIOB,GPIO_PIN_6) == GPIO_PIN_SET)
			setBit(&(response[2]),1);
	if(HAL_GPIO_ReadPin(GPIOC,GPIO_PIN_7) == GPIO_PIN_SET)
			setBit(&(response[2]),0);

	return response;

}

int8_t* getEncoderTicks(int8_t* command,int8_t* response)
{
	setResponse(command,response);
	int8_t data[2];
	int2byte(leftCurrentTicks,data);
	response[2] = data[0];
	response[3] = data[1];
	int2byte(rightCurrentTicks,data);
	response[4] = data[0];
	response[5] = data[1];

	return response;

}

int8_t* commandHandler(int8_t* command,int8_t* response)
{
	if(command[0] != 'B' || command[4] != 'M' || command[9] != 'E')
		return invalidMessage(response);
	if(command[1] == 1)
	{
		//set speed
		return setVelocityResponse(command,response,0);
	}
	if(command[1] == 2)
	{
		//get speed
		return getVelocityResponse(command,response);
	}
	if(command[1] == 3)
	{
		//set configration
		return setConfigResponse(command,response);
	}
	if(command[1] == 4)
	{
		//get configuration
		return getConfigResponse(command,response);
	}
	if(command[1] == 5)
	{
		//set timeout
		return setTimerResponse(command,response,&htim9);
	}
	if(command[1] == 6)
	{
		//get timeout
		return getTimerResponse(command,response,&htim9);
	}
	if(command[1] == 7)
	{
		//set PWM
		return setPWMResponse(command,response,0);
	}
	if(command[1] == 8)
	{
		//get PWM
		return getPWMResponse(command,response);
	}
	if(command[1] == 9)
	{
		//set encoder timer
		return setTimerResponse(command,response,&htim2);
	}
	if(command[1] == 10)
	{
		//get encoder timer
		return getTimerResponse(command,response,&htim2);
	}
	if(command[1] == 11)
	{
		//get set speed
		return getSetSpeedResponse(command,response);
	}
	if(command[1] == 12)
	{
		//set regulation timer
		return setRegulationTimerResponse(command,response);
	}
	if(command[1] == 13)
	{
		//get regulation timer
		return getTimerResponse(command,response,&htim10);
	}
	if(command[1] == 14)
	{
		//set direction pins
		return setMotorsDirection(command,response);
	}
	if(command[1] == 15)
	{
		//get direction pins
		return getMotorsDirection(command,response);
	}
	if(command[1] == 16)
	{
		//set blocked velocity
		return setVelocityResponse(command,response,1);
	}
	if(command[1] == 17)
	{
		//set blocked PWM
		return setPWMResponse(command,response,1);
	}
	if(command[1] == 18)
	{
		//get ticks in current velocity measurement
		return getEncoderTicks(command,response);
	}

return invalidMessage(response);

}

void onEncoderOverload(TIM_HandleTypeDef *htim,int32_t *totalTickCounter)
{
	if(htim->Instance->CNT > 64000 && htim->Instance->CNT < 65000)
		*totalTickCounter += (ENCODER_INITIAL + 65000 - htim->Instance->CNT);
	else if (htim->Instance->CNT > 0 && htim->Instance->CNT < 1000)
		*totalTickCounter -= (ENCODER_INITIAL + htim->Instance->CNT);

	htim->Instance->CNT = ENCODER_INITIAL;
	HAL_TIM_Base_Start_IT(htim);
}

void HAL_UART_RxCpltCallback(UART_HandleTypeDef *huart)
{
	int8_t response[10];
	if(getTimerTimeout(&htim9))
		stopBluetoothTimer();

	//setTimer(0);
	HAL_GPIO_WritePin(GPIOA, GPIO_PIN_5, GPIO_PIN_SET);

	commandHandler(command,response);
	HAL_UART_Transmit_DMA(&huart2,response,10);
	if(getTimerTimeout(&htim9))
		startBluetoothTimer();
}

void HAL_TIM_PeriodElapsedCallback(TIM_HandleTypeDef *htim)
{
	if(htim == &htim2)
	{
		//HAL_GPIO_TogglePin(GPIOA,GPIO_PIN_5);
		leftVelocity = LeftVelocity();
		rightVelocity = RightVelocity();
		htim2.Instance->CNT = encoderTimer - 1;
		HAL_TIM_Base_Start_IT(&htim2);
	}

	if(htim == &htim5)
	{
			stopMotors();
			HAL_TIM_Base_Stop_IT(&htim5);
			if(timerFlag != 0)
			{
				int8_t response[10];
				setBlockedTimerResponse(response);
				timerFlag = 0;
				HAL_UART_Transmit_DMA(&huart2,response,10);
			}
	}

	if(htim == &htim9)
	{
		//if(bluetoothTimerFlag != 0)
		//{
			stopMotors();
			HAL_TIM_Base_Stop_IT(&htim9);
		//}else
		//{
		//	bluetoothTimerFlag = 1;
		//}
	}
	if(htim == &htim10)
	{
		regulation();
		HAL_TIM_Base_Start_IT(&htim10);
	}
	if(htim == &htim3)
	{
		HAL_GPIO_TogglePin(GPIOA, GPIO_PIN_5);
		onEncoderOverload(&htim3,&leftTotalTicks);
	}
	if(htim == &htim1)
	{
		onEncoderOverload(&htim1,&rightTotalTicks);
	}
}

void addNewPWM(float leftPWM, float rightPWM)
{
	int32_t toSetLeft = getLeftPWM();
	int32_t toSetRight = getRightPWM();

	if(isLeftBackward())
		toSetLeft = -toSetLeft;

	if(isRightBackward())
		toSetRight = -toSetRight;

	toSetLeft += (int32_t)leftPWM;
	toSetRight += (int32_t)rightPWM;

	if(toSetLeft < 0)
	{
		toSetLeft = - toSetLeft;
		LeftBackward();
	}else
		LeftForward();

	if(toSetRight < 0)
	{
		toSetRight = -toSetRight;
		RightBackward();
	}else
		RightForward();

	LeftPWM((uint32_t)toSetLeft);
	RightPWM((uint32_t)toSetRight);
}

void regulation(void)
{
	eLeft = setLeftSpeed - leftVelocity;
	eRight = setRightSpeed - rightVelocity;

	newPWMLeft = pVal * eLeft + dVal * (eLeft - peLeft);
	newPWMRight = pVal * eRight + dVal * (eRight - peRight);

	peLeft = eLeft;
	peRight = eRight;

	addNewPWM(newPWMLeft,newPWMRight);

}

int8_t getBit(int8_t value, int8_t bit)
{
	return (value & ( 1 << bit )) >> bit;
}
void setBit(int8_t *value, int8_t bit)
{
	*value |= 1 << bit;
}

void resetBit(int8_t *value, int8_t bit)
{
	*value &= ~(1 << bit);
}

/* USER CODE END 4 */

/************************ (C) COPYRIGHT STMicroelectronics *****END OF FILE****/
